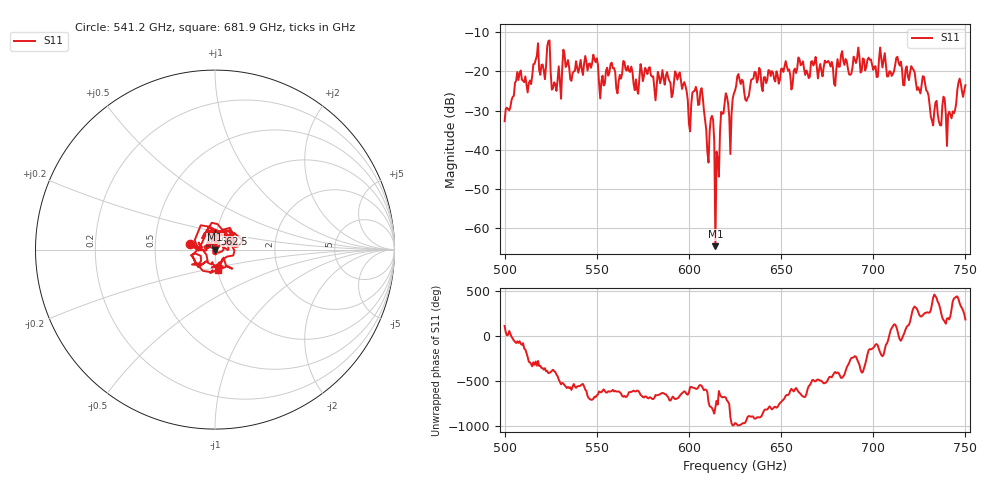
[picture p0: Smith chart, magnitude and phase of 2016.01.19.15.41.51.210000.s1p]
!Created with skrf (http://scikit-rf.org).
# GHz S RI R 50.0
!freq ReS11 ImS11
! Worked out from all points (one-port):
!   401 points, 500 GHz to 750 GHz, reference 50 ohm
!   lowest |S11| = -64.5 dB at 614.4 GHz (marker M1), VSWR 1.00, Z = 50 - j0.0568 ohm
!   |S11| at or under -10 dB: start of sweep to end of sweep
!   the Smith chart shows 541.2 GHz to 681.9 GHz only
!   S11 on the Smith chart (normalised r, x): 541.2 GHz: 0.76, +0.05; 562.5 GHz: 0.98, +0.18; 681.9 GHz: 1.01, -0.23
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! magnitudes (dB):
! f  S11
! 500 GHz  -32.7
! 507.5 GHz  -22.2
! 513.8 GHz  -22.3
! 516.9 GHz  -17.0
! 520.6 GHz  -18.2
! 523.8 GHz  -12.3
! 526.9 GHz  -22.8
! 531.2 GHz  -19.3
! 541.2 GHz  -17.1
! 562.5 GHz  -20.9
! 593.8 GHz  -22.1
! 600 GHz  -33.3
! 606.9 GHz  -24.3
! 610 GHz  -40.5
! 612.5 GHz  -31.3
! 614.4 GHz  -64.5
! 615.6 GHz  -42.3
! 618.8 GHz  -30.7
! 622.5 GHz  -41.0
! 625 GHz  -24.9
! 656.2 GHz  -23.4
! 681.9 GHz  -18.8
! 687.5 GHz  -20.9
! 705 GHz  -19.0
! 718.8 GHz  -21.2
! 741.2 GHz  -30.3
! 746.9 GHz  -21.8
! 750 GHz  -23.5
